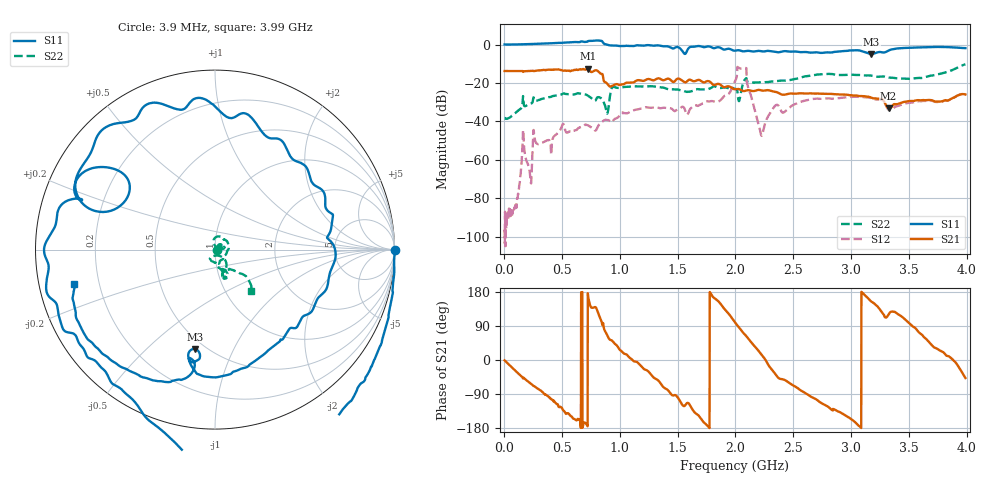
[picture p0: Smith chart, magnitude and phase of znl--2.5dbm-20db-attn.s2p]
#  HZ  S  RI  R  50.00
! Rohde & Schwarz Vector Network Analyzer
! Rohde-Schwarz,ZNL20-2Port,1323001220101312,1.72.1.6-23.02.1.246
! Created: UTC 10/23/2024, 9:31:46 PM
! freq[Hz]  re:S11  im:S11  re:S21  im:S21  re:S12  im:S12  re:S22  im:S22
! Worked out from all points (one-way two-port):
!   2000 points, 3.9 MHz to 3.99 GHz, reference 50 ohm
!   highest |S21| = -12.58 dB at 723.7 MHz (marker M1); lowest = -33.2 dB at 3.326 GHz (marker M2)
!   lowest |S11| = -5.0 dB at 3.176 GHz (marker M3), VSWR 3.59, Z = 22 - j35.8 ohm
!   |S11| at or under -10 dB: nowhere
!   |S22| runs from -38.7 to -10.3 dB; largest |S21 - S12| = 0.31
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3900000  1.004 -0.00489  0.2046 -0.00362  -4.71e-06 -1.46e-05  0.0122 0.000154
1.095765e8  0.9958 -0.1563  0.1728 -0.107  1.12e-05 8.55e-05  0.0144 0.0105
1.693934e8  0.99 -0.2453  0.1358 -0.1458  -0.00256 -0.00165  0.0275 0.00752
2.212348e8  0.9744 -0.3226  0.1019 -0.1775  -0.000419 0.000226  0.0234 0.0159
2.670944e8  0.9625 -0.3939  0.0684 -0.1938  -0.003 -0.00112  0.0313 0.0141
6.698616e8  0.5558 -1.067  -0.2228 0.00949  0.00284 0.00657  0.051 0.00827
7.236968e8  0.4756 -1.119  -0.2343 0.0156  0.00627 0.00483  0.0466 0.00464
8.273794e8  0.1077 -1.257  -0.0691 0.1679  0.008 0.00312  0.0394 0.014
8.852025e8  -0.3903 -0.9287  0.0352 0.0931  0.0107 -0.00184  0.0151 0.0101
9.171048e8  -0.4737 -0.8218  0.0481 0.0643  0.00922 -0.00394  -0.00841 0.0487
1.333829e9  -0.9501 0.0173  0.077 -0.1071  -0.0138 -0.0177  0.0768 0.0142
1.587054e9  -0.7016 0.2289  -0.0448 -0.1046  -0.0135 -0.00725  0.0475 -0.0342
1.768499e9  -0.3651 0.8147  -0.111 -0.00626  -0.0308 0.0116  0.0271 -0.0642
1.997797e9  0.3072 0.6205  -0.0103 0.0677  0.0575 0.0957  -0.00563 -0.0701
2.037675e9  0.3869 0.5864  0.00794 0.0674  0.2395 -0.0217  0.0183 -0.0338
2.075559e9  0.4409 0.498  0.0219 0.0574  -0.0394 -0.2374  0.0634 -0.0946
2.225101e9  0.6142 0.2631  0.0618 0.0162  -0.000562 0.00422  0.0236 -0.1028
2.346729e9  0.6396 0.0937  0.0465 -0.0358  0.0193 -0.0173  0.0328 -0.1052
2.661765e9  0.4817 -0.3844  -0.00748 -0.0527  0.00402 -0.0375  0.0685 -0.1411
3.17619e9  -0.1127 -0.5534  -0.037 0.0179  -0.0353 0.0178  0.0412 -0.1498
3.325732e9  -0.128 -0.6855  -0.0111 0.0187  -0.00746 0.0185  0.0408 -0.1322
3.9897e9  -0.7838 -0.1904  0.0338 -0.0369  0.0337 -0.038  0.2028 -0.228
